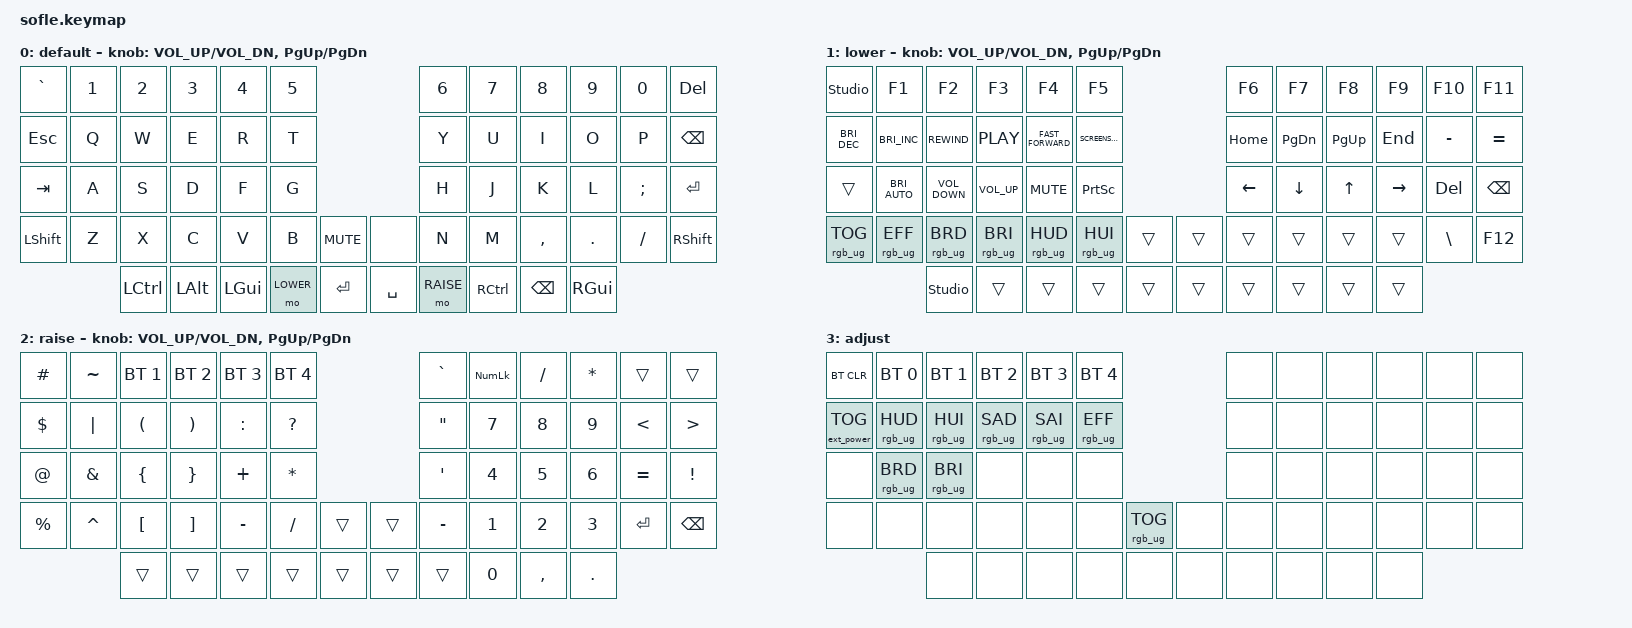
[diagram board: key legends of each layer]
/*
 * Copyright (c) 2020 The ZMK Contributors
 *
 * SPDX-License-Identifier: MIT
 */

#include <behaviors.dtsi>
#include <dt-bindings/zmk/bt.h>
#include <dt-bindings/zmk/ext_power.h>
#include <dt-bindings/zmk/keys.h>
#include <dt-bindings/zmk/rgb.h>

#define BASE 0
#define LOWER 1
#define RAISE 2
#define ADJUST 3

/ {
    // Activate ADJUST layer by pressing raise and lower

    conditional_layers {
        compatible = "zmk,conditional-layers";

        adjust_layer {
            if-layers = <LOWER RAISE>;
            then-layer = <ADJUST>;
        };
    };

    combos {
        compatible = "zmk,combos";

        ESC_COMBO {
            bindings = <&kp ESCAPE>;
            key-positions = <31 32>;
        };
    };

    keymap {
        compatible = "zmk,keymap";

        default_layer {
            label = "default";

            // ------------------------------------------------------------------------------------------------------------
            // |   `   |  1  |  2  |  3   |  4   |  5   |                   |  6   |  7    |  8    |  9   |   0   |       |
            // |  ESC  |  Q  |  W  |  E   |  R   |  T   |                   |  Y   |  U    |  I    |  O   |   P   | BKSPC |
            // |  TAB  |  A  |  S  |  D   |  F   |  G   |                   |  H   |  J    |  K    |  L   |   ;   |   '   |
            // | SHIFT |  Z  |  X  |  C   |  V   |  B   |  MUTE  |  |       |  N   |  M    |  ,    |  .   |   /   | SHIFT |
            //               | GUI | ALT  | CTRL | LOWER|  ENTER |  | SPACE | RAISE| CTRL  | ALT   | GUI  |

            bindings = <
&kp GRAVE  &kp N1  &kp N2            &kp N3    &kp N4    &kp N5                              &kp N6     &kp N7     &kp N8         &kp N9    &kp N0    &kp DELETE
&kp ESC    &kp Q   &kp W             &kp E     &kp R     &kp T                               &kp Y      &kp U      &kp I          &kp O     &kp P     &kp BSPC
&kp TAB    &kp A   &kp S             &kp D     &kp F     &kp G                               &kp H      &kp J      &kp K          &kp L     &kp SEMI  &kp ENTER
&kp LSHFT  &kp Z   &kp X             &kp C     &kp V     &kp B      &kp C_MUTE    &none      &kp N      &kp M      &kp COMMA      &kp DOT   &kp FSLH  &kp RSHFT
                   &kp LEFT_CONTROL  &kp LALT  &kp LGUI  &mo LOWER  &kp RET       &kp SPACE  &mo RAISE  &kp RCTRL  &kp BACKSPACE  &kp RGUI
            >;

            sensor-bindings = <&inc_dec_kp C_VOL_UP C_VOL_DN &inc_dec_kp PG_UP PG_DN>;
        };

        lower_layer {
            label = "lower";

            // TODO: Some binds are waiting for shifted keycode support.
            // ------------------------------------------------------------------------------------------------------------
            // |       |  F1 |  F2 |  F3  |  F4  |  F5  |                   |  F6  |  F7   |  F8   |  F9  |  F10  |  F11  |
            // |   `   |  1  |  2  |  3   |  4   |  5   |                   |  6   |  7    |  8    |  9   |   0   |  F12  |
            // |       |  !  |  @  |  #   |  $   |  %   |                   |  ^   |  &    |  *    |  (   |   )   |   |   |
            // |       |  =  |  -  |  +   |  {   |  }   |        |  |       |  [   |  ]    |  ;    |  :   |   \   |       |
            //               |     |      |      |      |        |  |       |      |       |       |      |

            bindings = <
&studio_unlock        &kp F1                 &kp F2             &kp F3           &kp F4              &kp F5                               &kp F6          &kp F7          &kp F8        &kp F9           &kp F10     &kp F11
&kp C_BRIGHTNESS_DEC  &kp C_BRIGHTNESS_INC   &kp C_REWIND       &kp C_PLAY       &kp C_FAST_FORWARD  &kp K_SCREENSAVER                    &kp HOME        &kp PAGE_DOWN   &kp PAGE_UP   &kp END          &kp MINUS   &kp EQUAL
&trans                &kp C_BRIGHTNESS_AUTO  &kp C_VOLUME_DOWN  &kp C_VOLUME_UP  &kp K_MUTE          &kp PRINTSCREEN                      &kp LEFT_ARROW  &kp DOWN_ARROW  &kp UP_ARROW  &kp RIGHT_ARROW  &kp DELETE  &kp BACKSPACE
&rgb_ug RGB_TOG       &rgb_ug RGB_EFF        &rgb_ug RGB_BRD    &rgb_ug RGB_BRI  &rgb_ug RGB_HUD     &rgb_ug RGB_HUI    &trans    &trans  &trans          &trans          &trans        &trans           &kp BSLH    &kp F12
                                             &studio_unlock     &trans           &trans              &trans             &trans    &trans  &trans          &trans          &trans        &trans
            >;

            sensor-bindings = <&inc_dec_kp C_VOL_UP C_VOL_DN &inc_dec_kp PG_UP PG_DN>;
        };

        raise_layer {
            label = "raise";

            // ------------------------------------------------------------------------------------------------------------
            // | BTCLR | BT1  | BT2  |  BT3  |  BT4  |  BT5 |                |      |      |       |      |       |       |
            // |       | INS  | PSCR | GUI   |       |      |                | PGUP |      |   ^   |      |       |       |
            // |       | ALT  | CTRL | SHIFT |       | CAPS |                | PGDN |   <- |   v   |  ->  |  DEL  | BKSPC |
            // |       | UNDO | CUT  | COPY  | PASTE |      |      |  |      |      |      |       |      |       |       |
            //                |      |       |       |      |      |  |      |      |      |       |      |

            bindings = <
&kp HASH     &kp TILDE      &bt BT_SEL 1          &bt BT_SEL 2           &bt BT_SEL 3  &bt BT_SEL 4                    &kp GRAVE          &kp KP_NUMLOCK  &kp SLASH  &kp STAR  &trans         &trans
&kp DOLLAR   &kp PIPE       &kp LEFT_PARENTHESIS  &kp RIGHT_PARENTHESIS  &kp COLON     &kp QUESTION                    &kp DOUBLE_QUOTES  &kp N7          &kp N8     &kp N9    &kp LESS_THAN  &kp GREATER_THAN
&kp AT_SIGN  &kp AMPERSAND  &kp LEFT_BRACE        &kp RIGHT_BRACE        &kp PLUS      &kp ASTERISK                    &kp SQT            &kp N4          &kp N5     &kp N6    &kp EQUAL      &kp EXCLAMATION
&kp PERCENT  &kp CARET      &kp LEFT_BRACKET      &kp RIGHT_BRACKET      &kp MINUS     &kp SLASH     &trans    &trans  &kp MINUS          &kp N1          &kp N2     &kp N3    &kp ENTER      &kp BACKSPACE
                            &trans                &trans                 &trans        &trans        &trans    &trans  &trans             &kp N0          &kp COMMA  &kp DOT
            >;

            sensor-bindings = <&inc_dec_kp C_VOL_UP C_VOL_DN &inc_dec_kp PG_UP PG_DN>;
        };

        adjust_layer {
            // ----------------------------------------------------------------------------------------------------------------------------
            // | BTCLR  |  BT1    |  BT2    |   BT3   |   BT4   |   BT5   |                  |      |      |       |      |       |       |
            // | EXTPWR | RGB_HUD | RGB_HUI | RGB_SAD | RGB_SAI | RGB_EFF |                  |      |      |       |      |       |       |
            // |        | RGB_BRD | RGB_BRI |         |         |         |                  |      |      |       |      |       |       |
            // |        |         |         |         |         |         | RGB_TOG | |      |      |      |       |      |       |       |
            //                    |         |         |         |         |         | |      |      |      |       |      |

            label = "adjust";
            bindings = <
&bt BT_CLR         &bt BT_SEL 0     &bt BT_SEL 1     &bt BT_SEL 2     &bt BT_SEL 3     &bt BT_SEL 4                               &none  &none  &none  &none  &none  &none
&ext_power EP_TOG  &rgb_ug RGB_HUD  &rgb_ug RGB_HUI  &rgb_ug RGB_SAD  &rgb_ug RGB_SAI  &rgb_ug RGB_EFF                            &none  &none  &none  &none  &none  &none
&none              &rgb_ug RGB_BRD  &rgb_ug RGB_BRI  &none            &none            &none                                      &none  &none  &none  &none  &none  &none
&none              &none            &none            &none            &none            &none            &rgb_ug RGB_TOG    &none  &none  &none  &none  &none  &none  &none
                                    &none            &none            &none            &none            &none              &none  &none  &none  &none  &none
            >;
        };
    };
};
